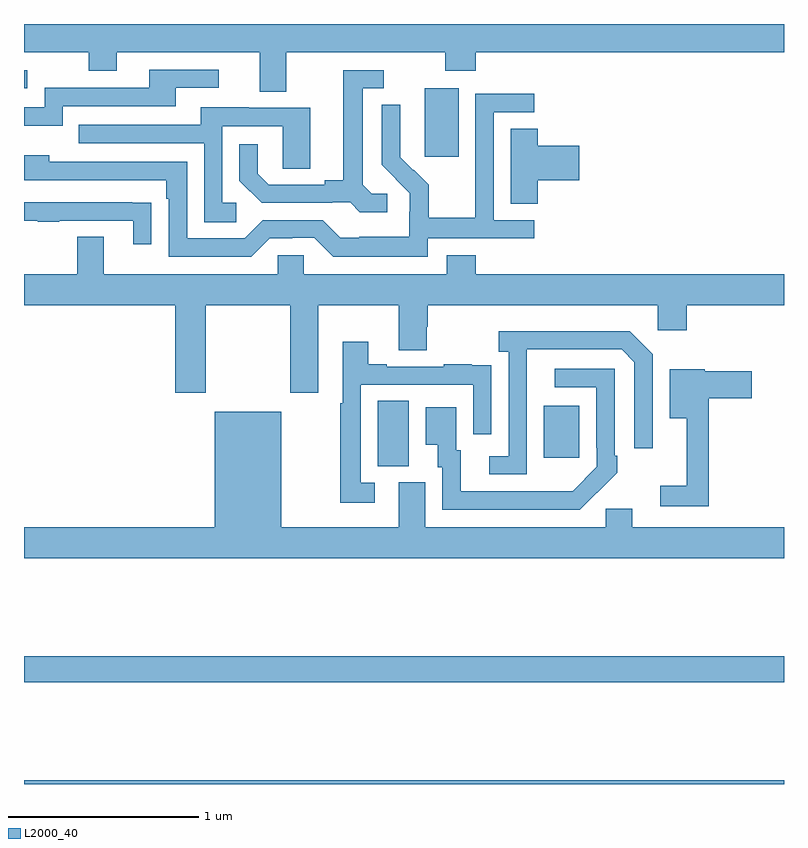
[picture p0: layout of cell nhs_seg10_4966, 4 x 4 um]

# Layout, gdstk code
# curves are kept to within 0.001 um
import gdstk
lib = gdstk.Library(unit=1e-6, precision=1e-09)
def R(c, l, rs):  # rectangles x0, y0, x1, y1
    for r in rs: c.add(gdstk.rectangle(r[:2], r[2:], *l))
def P(c, l, *ps):  # polygons
    for p in ps: c.add(gdstk.Polygon(p, *l))
L2000_40 = (2000, 40)

nhs_seg10_4966 = lib.new_cell('nhs_seg10_4966')
R(nhs_seg10_4966, L2000_40, [(399,1260.5,403,1260.52), (399,1261.036,403,1261.172), (400.862,1262.173,401.026,1262.516), (401.735,1262.217,401.923,1262.491), (401.108,1263.801,401.287,1264.162), (399,1264.161,399.016,1264.257)])
P(nhs_seg10_4966, L2000_40, [(400.381,1264.352),(401.218,1264.352),(401.218,1264.253),(401.378,1264.253),(401.378,1264.352),(403,1264.352),(403,1264.5),(399,1264.5),(399,1264.352),(399.34,1264.352),(399.34,1264.253),(399.487,1264.253),(399.487,1264.352),(400.241,1264.352),(400.241,1264.144),(400.381,1264.144)],
  [(399.204,1264.068),(399.799,1264.068),(399.799,1264.164),(400.024,1264.164),(400.024,1264.26),(399.659,1264.26),(399.659,1264.164),(399.108,1264.164),(399.108,1264.062),(399,1264.062),(399,1263.965),(399.204,1263.965)],
  [(400.912,1263.606),(400.83,1263.606),(400.783,1263.653),(400.783,1264.161),(400.894,1264.161),(400.894,1264.257),(400.679,1264.257),(400.679,1263.677),(400.583,1263.677),(400.583,1263.654),(400.288,1263.654),(400.231,1263.711),(400.231,1263.868),(400.134,1263.868),(400.134,1263.674),(400.25,1263.558),(400.622,1263.558),(400.622,1263.561),(400.716,1263.561),(400.768,1263.509),(400.912,1263.509)],
  [(401.124,1263.372),(401.686,1263.372),(401.686,1263.468),(401.472,1263.468),(401.472,1264.035),(401.686,1264.035),(401.686,1264.134),(401.376,1264.134),(401.376,1263.704),(401.374,1263.704),(401.374,1263.481),(401.129,1263.481),(401.129,1263.655),(401.052,1263.732),(401.049,1263.729),(400.979,1263.8),(400.98,1264.076),(400.884,1264.076),(400.884,1263.758),(401.03,1263.61),(401.03,1263.513),(401.028,1263.513),(401.028,1263.379),(400.765,1263.379),(400.765,1263.375),(400.665,1263.375),(400.572,1263.468),(400.257,1263.468),(400.161,1263.372),(399.858,1263.372),(399.858,1263.774),(399.134,1263.774),(399.134,1263.808),(399,1263.808),(399,1263.678),(399.749,1263.678),(399.749,1263.581),(399.762,1263.581),(399.762,1263.276),(400.197,1263.276),(400.293,1263.372),(400.412,1263.372),(400.412,1263.375),(400.527,1263.375),(400.627,1263.275),(401.124,1263.275)],
  [(400.117,1263.558),(400.044,1263.558),(400.044,1263.963),(400.362,1263.963),(400.362,1263.739),(400.507,1263.739),(400.507,1264.059),(400.183,1264.059),(400.183,1264.063),(399.929,1264.063),(399.929,1263.969),(399.289,1263.969),(399.289,1263.873),(399.948,1263.873),(399.948,1263.457),(400.117,1263.457)],
  [(401.705,1263.677),(401.923,1263.677),(401.923,1263.86),(401.705,1263.86),(401.705,1263.95),(401.561,1263.95),(401.561,1263.553),(401.705,1263.553)],
  [(399.671,1263.56),(399.569,1263.56),(399.569,1263.561),(399,1263.561),(399,1263.465),(399.073,1263.465),(399.073,1263.46),(399.185,1263.46),(399.185,1263.465),(399.575,1263.465),(399.575,1263.342),(399.671,1263.342)],
  [(401.378,1263.283),(401.225,1263.283),(401.225,1263.184),(400.473,1263.184),(400.473,1263.282),(400.335,1263.282),(400.335,1263.184),(399.421,1263.184),(399.421,1263.379),(399.281,1263.379),(399.281,1263.184),(399,1263.184),(399,1263.02),(399.797,1263.02),(399.797,1262.559),(399.957,1262.559),(399.957,1263.02),(400.402,1263.02),(400.402,1262.559),(400.549,1262.559),(400.549,1263.02),(400.973,1263.02),(400.973,1262.782),(401.121,1262.782),(401.121,1262.907),(401.126,1262.907),(401.126,1263.02),(402.336,1263.02),(402.336,1262.889),(402.488,1262.889),(402.488,1263.02),(403,1263.02),(403,1263.184),(401.378,1263.184)],
  [(401.646,1262.587),(401.647,1262.787),(402.147,1262.787),(402.213,1262.721),(402.213,1262.268),(402.309,1262.268),(402.309,1262.763),(402.188,1262.884),(401.499,1262.884),(401.499,1262.774),(401.55,1262.774),(401.55,1262.226),(401.448,1262.226),(401.448,1262.13),(401.646,1262.13)],
  [(400.846,1262.085),(400.773,1262.085),(400.773,1262.601),(401.364,1262.601),(401.364,1262.34),(401.46,1262.34),(401.46,1262.594),(401.459,1262.594),(401.459,1262.703),(401.357,1262.703),(401.357,1262.71),(401.209,1262.71),(401.209,1262.697),(400.909,1262.697),(400.909,1262.71),(400.813,1262.71),(400.813,1262.827),(400.677,1262.827),(400.677,1262.504),(400.665,1262.504),(400.665,1261.98),(400.846,1261.98)],
  [(402.017,1262.035),(402.018,1262.034),(402.123,1262.139),(402.123,1262.227),(402.108,1262.227),(402.108,1262.685),(401.793,1262.685),(401.793,1262.589),(402.012,1262.589),(402.012,1262.269),(402.015,1262.269),(402.015,1262.169),(401.887,1262.041),(401.299,1262.04),(401.299,1262.256),(401.275,1262.256),(401.275,1262.482),(401.114,1262.482),(401.114,1262.285),(401.177,1262.285),(401.177,1262.166),(401.202,1262.166),(401.202,1261.944),(401.926,1261.944)],
  [(402.605,1262.531),(402.829,1262.531),(402.829,1262.673),(402.582,1262.673),(402.582,1262.683),(402.398,1262.683),(402.398,1262.426),(402.488,1262.426),(402.488,1262.071),(402.348,1262.071),(402.348,1261.962),(402.605,1261.962)],
  [(403,1261.852),(402.202,1261.852),(402.202,1261.95),(402.063,1261.95),(402.063,1261.852),(401.113,1261.852),(401.113,1262.088),(400.973,1262.088),(400.973,1261.852),(400.354,1261.852),(400.354,1262.458),(400.004,1262.458),(400.004,1261.852),(399,1261.852),(399,1261.688),(403,1261.688)])

lib.write_gds('nhs_seg10_4966.gds')
